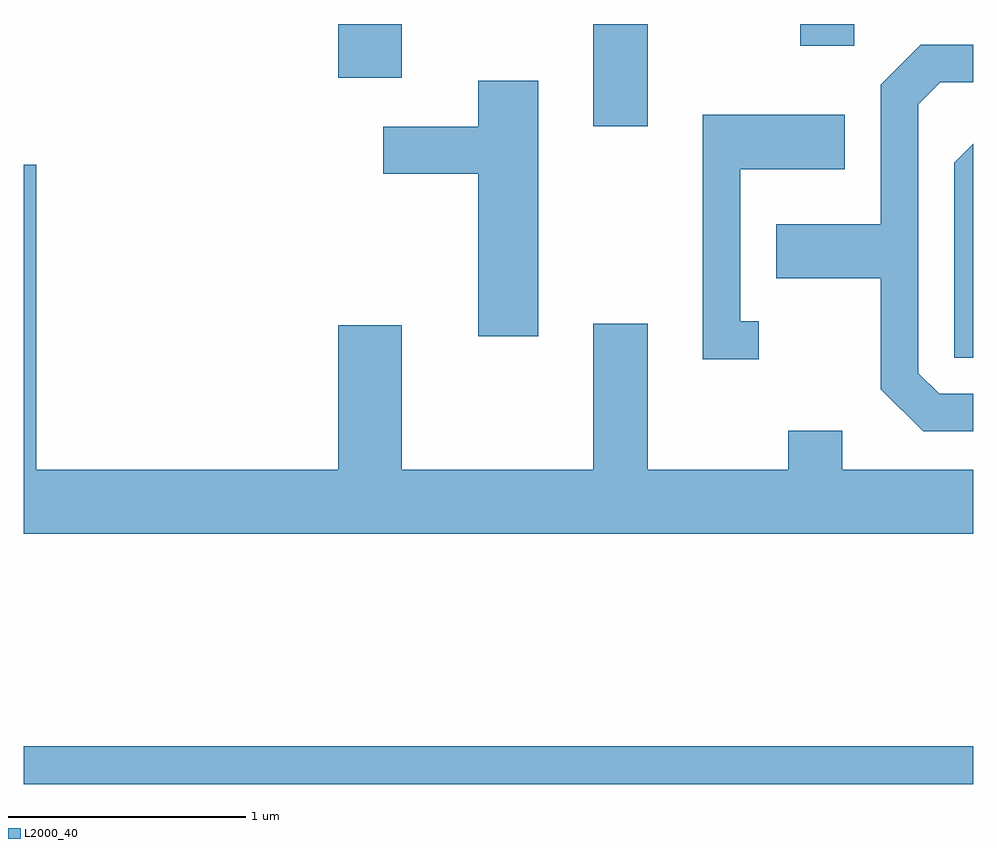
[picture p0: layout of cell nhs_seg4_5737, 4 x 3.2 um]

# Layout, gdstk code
import gdstk
lib = gdstk.Library(unit=1e-6, precision=1e-09)
def R(c, l, rs):  # rectangles x0, y0, x1, y1
    for r in rs: c.add(gdstk.rectangle(r[:2], r[2:], *l))
def P(c, l, *ps):  # polygons
    for p in ps: c.add(gdstk.Polygon(p, *l))
L2000_40 = (2000, 40)

nhs_seg4_5737 = lib.new_cell('nhs_seg4_5737')
R(nhs_seg4_5737, L2000_40, [(353.611,1304.781,357.611,1304.939), (356.011,1307.551,356.239,1307.982), (354.936,1307.756,355.204,1307.982), (356.881,1307.891,357.109,1307.982)])
P(nhs_seg4_5737, L2000_40, [(357.611,1306.424),(357.467,1306.424),(357.379,1306.512),(357.379,1307.644),(357.472,1307.736),(357.611,1307.736),(357.611,1307.894),(357.389,1307.894),(357.221,1307.727),(357.221,1307.139),(356.781,1307.139),(356.781,1306.911),(357.221,1306.911),(357.221,1306.444),(357.399,1306.266),(357.611,1306.266)],
  [(355.779,1307.744),(355.526,1307.744),(355.526,1307.549),(355.126,1307.549),(355.126,1307.351),(355.526,1307.351),(355.526,1306.666),(355.779,1306.666)],
  [(356.708,1306.729),(356.629,1306.729),(356.629,1307.371),(357.069,1307.371),(357.069,1307.599),(356.471,1307.599),(356.471,1306.571),(356.708,1306.571)],
  [(357.611,1307.477),(357.531,1307.397),(357.531,1306.576),(357.611,1306.576)],
  [(357.611,1306.104),(357.059,1306.104),(357.059,1306.269),(356.831,1306.269),(356.831,1306.104),(356.239,1306.104),(356.239,1306.719),(356.011,1306.719),(356.011,1306.104),(355.204,1306.104),(355.204,1306.714),(354.936,1306.714),(354.936,1306.104),(353.664,1306.104),(353.664,1307.389),(353.611,1307.389),(353.611,1305.836),(357.611,1305.836)])

lib.write_gds('nhs_seg4_5737.gds')
